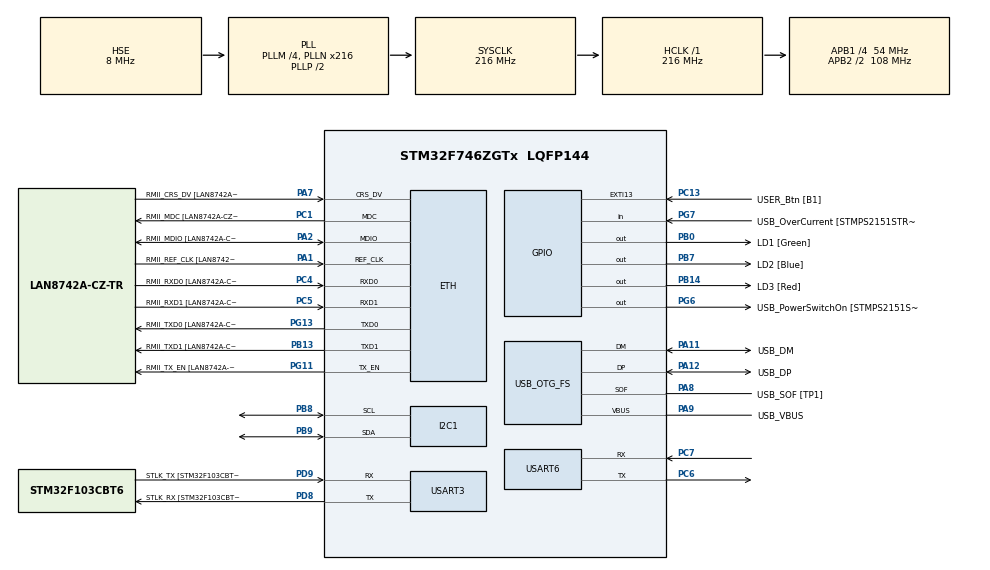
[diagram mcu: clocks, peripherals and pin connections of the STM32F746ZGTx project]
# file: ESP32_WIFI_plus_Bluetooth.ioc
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ETH.MediaInterface=HAL_ETH_RMII_MODE
ETH.PHY_Name=LAN8742A_PHY_ADDRESS
ETH.PHY_Value=0
ETH.PhyAddress=0
I2C1.Timing=0x20404768
Mcu.Family=STM32F7
Mcu.Name=STM32F746ZGTx
Mcu.Package=LQFP144
NVIC.PriorityGroup=NVIC_PRIORITYGROUP_4
PA1.GPIO_Label=RMII_REF_CLK [LAN8742A-CZ-TR_REFCLK0]
PA1.Mode=RMII
PA1.Signal=ETH_REF_CLK
PA10.GPIO_Label=USB_ID
PA10.Signal=USB_OTG_FS_ID
PA11.GPIO_Label=USB_DM
PA11.Mode=Device_Only
PA11.Signal=USB_OTG_FS_DM
PA12.GPIO_Label=USB_DP
PA12.Mode=Device_Only
PA12.Signal=USB_OTG_FS_DP
PA13.GPIO_Label=TMS
PA13.Mode=Serial_Wire
PA13.Signal=SYS_JTMS-SWDIO
PA14.GPIO_Label=TCK
PA14.Mode=Serial_Wire
PA14.Signal=SYS_JTCK-SWCLK
PA2.GPIO_Label=RMII_MDIO [LAN8742A-CZ-TR_MDIO]
PA2.Mode=RMII
PA2.Signal=ETH_MDIO
PA7.GPIO_Label=RMII_CRS_DV [LAN8742A-CZ-TR_CRS_DV]
PA7.Mode=RMII
PA7.Signal=ETH_CRS_DV
PA8.GPIO_Label=USB_SOF [TP1]
PA8.Mode=Activate_SOF_FS
PA8.Signal=USB_OTG_FS_SOF
PA9.GPIO_Label=USB_VBUS
PA9.Mode=Activate_VBUS
PA9.Signal=USB_OTG_FS_VBUS
PB0.GPIO_Label=LD1 [Green]
PB0.Signal=GPIO_Output
PB13.GPIO_Label=RMII_TXD1 [LAN8742A-CZ-TR_TXD1]
PB13.Mode=RMII
PB13.Signal=ETH_TXD1
PB14.GPIO_Label=LD3 [Red]
PB14.Signal=GPIO_Output
PB3.GPIO_Label=SW0
PB3.Signal=SYS_JTDO-SWO
PB7.GPIO_Label=LD2 [Blue]
PB7.Signal=GPIO_Output
PB8.Mode=I2C
PB8.Signal=I2C1_SCL
PB9.Mode=I2C
PB9.Signal=I2C1_SDA
PC1.GPIO_Label=RMII_MDC [LAN8742A-CZ-TR_MDC]
PC1.Mode=RMII
PC1.Signal=ETH_MDC
PC13.GPIO_Label=USER_Btn [B1]
PC13.Signal=GPXTI13
PC14/OSC32_IN.Mode=LSE-External-Oscillator
PC14/OSC32_IN.Signal=RCC_OSC32_IN
PC15/OSC32_OUT.Mode=LSE-External-Oscillator
PC15/OSC32_OUT.Signal=RCC_OSC32_OUT
PC4.GPIO_Label=RMII_RXD0 [LAN8742A-CZ-TR_RXD0]
PC4.Mode=RMII
PC4.Signal=ETH_RXD0
PC5.GPIO_Label=RMII_RXD1 [LAN8742A-CZ-TR_RXD1]
PC5.Mode=RMII
PC5.Signal=ETH_RXD1
PC6.Mode=Asynchronous
PC6.Signal=USART6_TX
PC7.Mode=Asynchronous
PC7.Signal=USART6_RX
PD8.GPIO_Label=STLK_RX [STM32F103CBT6_PA3]
PD8.GPIO_PuPd=GPIO_PULLUP
PD8.Mode=Asynchronous
PD8.Signal=USART3_TX
PD9.GPIO_Label=STLK_TX [STM32F103CBT6_PA2]
PD9.GPIO_PuPd=GPIO_PULLUP
PD9.Mode=Asynchronous
PD9.Signal=USART3_RX
PG11.GPIO_Label=RMII_TX_EN [LAN8742A-CZ-TR_TXEN]
PG11.Mode=RMII
PG11.Signal=ETH_TX_EN
PG13.GPIO_Label=RMII_TXD0 [LAN8742A-CZ-TR_TXD0]
PG13.Mode=RMII
PG13.Signal=ETH_TXD0
PG6.GPIO_Label=USB_PowerSwitchOn [STMPS2151STR_EN]
PG6.Signal=GPIO_Output
PG7.GPIO_Label=USB_OverCurrent [STMPS2151STR_FAULT]
PG7.Signal=GPIO_Input
PH0/OSC_IN.GPIO_Label=MCO [STM32F103CBT6_PA8]
PH0/OSC_IN.Mode=HSE-External-Clock-Source
PH0/OSC_IN.Signal=RCC_OSC_IN
PH1/OSC_OUT.Mode=HSE-External-Clock-Source
PH1/OSC_OUT.Signal=RCC_OSC_OUT
ProjectManager.HeapSize=0x200
ProjectManager.StackSize=0x400
ProjectManager.TargetToolchain=STM32CubeIDE
RCC.48MHZClocksFreq_Value=24000000
RCC.AHBFreq_Value=216000000
RCC.APB1CLKDivider=RCC_HCLK_DIV4
RCC.APB1Freq_Value=54000000
RCC.APB1TimFreq_Value=108000000
RCC.APB2CLKDivider=RCC_HCLK_DIV2
RCC.APB2Freq_Value=108000000
RCC.APB2TimFreq_Value=216000000
RCC.CortexFreq_Value=216000000
RCC.HCLKFreq_Value=216000000
RCC.HSE_VALUE=8000000
RCC.HSI_VALUE=16000000
RCC.PLLM=4
RCC.PLLMUL=RCC_PLL_MUL9
RCC.PLLN=216
RCC.PLLQ=9
RCC.PRESCALERUSB=RCC_USBCLKSOURCE_PLL_DIV1_5
RCC.SYSCLKFreq_VALUE=216000000
RCC.SYSCLKSource=RCC_SYSCLKSOURCE_PLLCLK
RCC.SYSCLKSourceVirtual=RCC_SYSCLKSOURCE_PLLCLK
RCC.USBFreq_Value=48000000
RCC.VCOOutputFreq_Value=432000000
USART3.VirtualMode-Asynchronous=VM_ASYNC
USART6.VirtualMode-Asynchronous=VM_ASYNC
USB_OTG_FS.VirtualMode=Device_Only
board=NUCLEO-F746ZG

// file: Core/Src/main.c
/* USER CODE BEGIN Header */
/**
  ******************************************************************************
  * @file           : main.c
  * @brief          : Main program body
  ******************************************************************************
  * @attention
  *
  * Copyright (c) 2025 STMicroelectronics.
  * All rights reserved.
  *
  * This software is licensed under terms that can be found in the LICENSE file
  * in the root directory of this software component.
  * If no LICENSE file comes with this software, it is provided AS-IS.
  *
  ******************************************************************************
  */
/* USER CODE END Header */
#include "main.h"
#include <string.h>

/* USER CODE BEGIN Includes */
#include <stdio.h>
/* USER CODE END Includes */

#if defined ( __ICCARM__ ) /*!< IAR Compiler */
#pragma location=0x2004c000
ETH_DMADescTypeDef  DMARxDscrTab[ETH_RX_DESC_CNT]; /* Ethernet Rx DMA Descriptors */
#pragma location=0x2004c0a0
ETH_DMADescTypeDef  DMATxDscrTab[ETH_TX_DESC_CNT]; /* Ethernet Tx DMA Descriptors */

#elif defined ( __CC_ARM )  /* MDK ARM Compiler */

__attribute__((at(0x2004c000))) ETH_DMADescTypeDef  DMARxDscrTab[ETH_RX_DESC_CNT]; /* Ethernet Rx DMA Descriptors */
__attribute__((at(0x2004c0a0))) ETH_DMADescTypeDef  DMATxDscrTab[ETH_TX_DESC_CNT]; /* Ethernet Tx DMA Descriptors */

#elif defined ( __GNUC__ ) /* GNU Compiler */

ETH_DMADescTypeDef DMARxDscrTab[ETH_RX_DESC_CNT] __attribute__((section(".RxDecripSection"))); /* Ethernet Rx DMA Descriptors */
ETH_DMADescTypeDef DMATxDscrTab[ETH_TX_DESC_CNT] __attribute__((section(".TxDecripSection")));   /* Ethernet Tx DMA Descriptors */
#endif

ETH_TxPacketConfig TxConfig;

ETH_HandleTypeDef heth;

I2C_HandleTypeDef hi2c1;

UART_HandleTypeDef huart3;
UART_HandleTypeDef huart6;

PCD_HandleTypeDef hpcd_USB_OTG_FS;

/* USER CODE BEGIN PV */
char recvBuf[128];  // Global buffer

/* USER CODE END PV */

void SystemClock_Config(void);
static void MX_GPIO_Init(void);
static void MX_ETH_Init(void);
static void MX_I2C1_Init(void);
static void MX_USART3_UART_Init(void);
static void MX_USB_OTG_FS_PCD_Init(void);
static void MX_USART6_UART_Init(void);

/* USER CODE BEGIN 0 */

/*----------- AT-command helper --------------*/
#define AT_RX_TIMEOUT 1000
char cmdBuf[64];

uint8_t b;

// Function to send AT command to ESP32 via UART6
HAL_StatusTypeDef ESP_SendCmd(const char *cmd, uint32_t timeout)
{

	    // 2) Echo the exact command we’re about to send to the PC (so you can see it)
	    HAL_UART_Transmit(&huart3, (uint8_t*)cmd, strlen(cmd), HAL_MAX_DELAY);

	    // 3) Send the AT command over UART6 to the ESP32
	    HAL_UART_Transmit(&huart6, (uint8_t*)cmd, strlen(cmd), HAL_MAX_DELAY);

	    // 4) Now collect *all* bytes the ESP32 replies with (up to `timeout`) into a buffer
	    uint32_t start = HAL_GetTick();
	    uint8_t  respBuf[256];
	    size_t   rlen = 0;

	    while ((HAL_GetTick() - start) < timeout && rlen < sizeof(respBuf)-1) {
	        uint8_t c;
	        // give each byte up to 20 ms to arrive
	        if (HAL_UART_Receive(&huart6, &c, 1, 20) == HAL_OK) {
	            respBuf[rlen++] = c;
	            start = HAL_GetTick();  // reset our timeout on each new byte
	        }
	    }
	    respBuf[rlen] = '\0';

	    // 5) Dump the *entire* response back to the PC in one go
	    if (rlen) {
	        HAL_UART_Transmit(&huart3, respBuf, rlen, HAL_MAX_DELAY);
	    }
	    return HAL_OK;
}

// Function to read response from ESP32
void ESP_ReadResponse(void)
{
    uint8_t rx_buf[256] = {0};
    HAL_UART_Receive(&huart6, rx_buf, sizeof(rx_buf), 1000);
    HAL_UART_Transmit(&huart3, rx_buf, strlen((char *)rx_buf), 1000);
}

// Connects ESP32 Bluetooth to a device with given MAC address
void ESP_BT_ConnectToDevice(const char* mac_address)
{
    char cmd[64];
    snprintf(cmd, sizeof(cmd), "AT+BTSPPCONN=%s\r\n", mac_address);
    ESP_SendCmd(cmd,1000);
    HAL_Delay(1000);
    ESP_ReadResponse();
}

// ESP32 Bluetooth scan Start
void ESP_BT_StartScan(void)
{
    ESP_SendCmd("AT+BTSCAN=1,5\r\n", 3000);  // 1 = Inquiry scan, 1 = enable
    ESP_ReadResponse(); // Return Results
}

// Initializes Bluetooth module through ESP32 AT commands
void ESP32_Bluetooth_Init(void)
{

	// 1) Basic AT check
	    ESP_SendCmd("AT\r\n",  500);
	    ESP_ReadResponse();

	    /*ESP_SendCmd("AT+RST\r\n", 1000);
	    ESP_ReadResponse();

	    ESP_SendCmd("AT+GMR\r\n",  5000);
	    ESP_ReadResponse();*/

	    	    // 2) Init BT

    	ESP_SendCmd("AT+BTINIT=1\r\n", 500);
    	ESP_ReadResponse();

	    ESP_SendCmd("AT+BTINIT?\r\n", 500);
	    ESP_ReadResponse();

	    // 3) Give it a friendly name
	    ESP_SendCmd("AT+BTNAME=\"ESP32_Bluetooth\"\r\n", 500);
	    ESP_ReadResponse();

	    // 3) AT+BTSCANMODE: Set Classic Bluetooth Scan Mode
	   	ESP_SendCmd("AT+BTSCANMODE=2\r\n", 500);
	   	ESP_ReadResponse();

	   	// 4) SPP Configuration Sequence:
	   	// You must first disable SPP by setting it to 0,
	   	// then enable it with value 1 or 2.
	   	// Configuration is not accepted unless disabled first.

	    ESP_SendCmd("AT+BTSPPINIT?\r\n", 500);
	    ESP_ReadResponse();

	    ESP_SendCmd("AT+BTSPPINIT=0\r\n", 500);
	    ESP_ReadResponse();

	    //4) Configure a classic-SPP service
	    ESP_SendCmd("AT+BTSPPINIT=2\r\n", 500);
	    ESP_ReadResponse();

	    //For the scan Bluetooth MAC ID's

		/*
		ESP_SendCmd("AT+BTSTARTDISC=0,10,5\r\n", 1000);
		ESP_ReadResponse();
		*/

	    //Start SPP
	    ESP_SendCmd("AT+BTSPPSTART\r\n", 2000);
	    ESP_ReadResponse();

		//Write your MAC ID For SPP
	    ESP_SendCmd("AT+BTSPPCONN=0,0,\"00:00:00:00:00:00\"\r\n",3000);
	    ESP_ReadResponse();

		ESP_SendCmd("AT+BTSPPCONN?\r\n", 2000);
	    ESP_ReadResponse();

}

void ESP_SetBaudRate_115200(void)
{
    ESP_SendCmd("AT+UART_DEF=115200,8,1,0,0\r\n", 1000);
    ESP_ReadResponse();
}

/*
// Connects ESP32 Bluetooth to a device with given MAC address
void ESP_BT_ConnectToDevice(const char* mac_address)
{
    char cmd[64];
    snprintf(cmd, sizeof(cmd), "AT+BTSPPCONN=%s", mac_address);
    ESP_SendCommand(cmd);
    HAL_Delay(1000);
    ESP_ReadResponse();
}
*/

/* USER CODE END 0 */

int main(void)
{

  /* MCU Configuration--------------------------------------------------------*/

  /* Reset of all peripherals, Initializes the Flash interface and the Systick. */
  HAL_Init();

  /* Configure the system clock */
  SystemClock_Config();

  /* Initialize all configured peripherals */
  MX_GPIO_Init();
  MX_ETH_Init();
  MX_I2C1_Init();
  MX_USART3_UART_Init();
  MX_USB_OTG_FS_PCD_Init();
  MX_USART6_UART_Init();
  /* USER CODE BEGIN 2 */

  //ESP_SetBaudRate_115200();

  //<---FOR Bluetooth--->

    // Initialize Bluetooth over UART6 (ESP32 AT commands)
    ESP32_Bluetooth_Init();

    // Device Scan
    ESP_BT_StartScan();

    // Later you can add connection command with AT+BTSPPCONN=MAC  ESP_BT_ConnectToDevice("00:11:22:33:44:55");

    //<---FOR WIFI--->

    /* Give ESP32 time to boot */

      /* Give ESP32 time to boot ------------------------------------------------*/
         HAL_Delay(1500);

         /* 1) Basic AT test --------------------------------------------------------*/
         /*ESP_SendCmd("AT\r\n", AT_RX_TIMEOUT);

         /* 2) Reset module to clear previous state --------------------------------*/
         //ESP_SendCmd("AT+RST\r\n", 2000);
         //HAL_Delay(2000);

         /* 3) Set Wi-Fi to AP+STA mode (3) -----------------------------------------*/
         ESP_SendCmd("AT+CWMODE=3\r\n", AT_RX_TIMEOUT);
         ESP_SendCmd("AT+CWSAP=\"Name\",\"123456789\",6,3,4,0\r\n", AT_RX_TIMEOUT);

         /* 5) Enable multiple connections -----------------------------------------*/
         ESP_SendCmd("AT+CIPMUX=1\r\n", AT_RX_TIMEOUT);

         /* 6) Start TCP server on port 5000 ---------------------------------------*/
         ESP_SendCmd("AT+CIPSERVER=1,5000\r\n", AT_RX_TIMEOUT);

  /* USER CODE END 2 */

  /* Infinite loop */
  /* USER CODE BEGIN WHILE */
         while (1)
         {
             char uartBuf[256] = {0};
             size_t uartLen = 0;
             uint32_t startTime = HAL_GetTick();

             while ((HAL_GetTick() - startTime) < 100 && uartLen < sizeof(uartBuf) - 1) {
                 uint8_t ch;
                 if (HAL_UART_Receive(&huart6, &ch, 1, 10) == HAL_OK) {
                     uartBuf[uartLen++] = ch;
                     startTime = HAL_GetTick();  // reset timeout
                 }
             }
             uartBuf[uartLen] = '\0';

             if (uartLen > 0) {

                 // Bluetooth Data: +BTDATA:<len>,<data>
                 if (strstr(uartBuf, "+BTDATA:") != NULL) {
                     // Get the part after the ','
                     char* dataStart = strchr(uartBuf, ',');
                     if (dataStart) {
                         dataStart++; // ',' sonrası verinin başlangıcı
                         size_t len = strlen(dataStart);

                         // Echo Bluetooth data
                         char cmd[64];
                         sprintf(cmd, "AT+BTSPPSEND=0,%u\r\n", (unsigned)len);
                         HAL_UART_Transmit(&huart6, (uint8_t*)cmd, strlen(cmd), HAL_MAX_DELAY);
                         HAL_Delay(100);
                         HAL_UART_Transmit(&huart6, (uint8_t*)dataStart, len, HAL_MAX_DELAY);
                         ESP_ReadResponse();
                     }
                 }

                 // Wi-Fi TCP data: +IPD,<id>,<len>:<data>
                 else if (strstr(uartBuf, "+IPD") != NULL) {
                     char* dataStart = strchr(uartBuf, ':');
                     if (dataStart != NULL) {
                         dataStart++;
                         size_t dataLen = strlen(dataStart);

                         // Echo Wi-Fi data
                         char cmdBuf[64];
                         sprintf(cmdBuf, "AT+CIPSEND=0,%u\r\n", (unsigned)dataLen);
                         HAL_UART_Transmit(&huart6, (uint8_t*)cmdBuf, strlen(cmdBuf), HAL_MAX_DELAY);

                         // Wait for '>' prompt
                         uint8_t prompt;
                         uint32_t waitStart = HAL_GetTick();
                         while ((HAL_GetTick() - waitStart) < 1000) {
                             if (HAL_UART_Receive(&huart6, &prompt, 1, 100) == HAL_OK && prompt == '>') {
                                 break;
                             }
                         }

                         HAL_UART_Transmit(&huart6, (uint8_t*)dataStart, dataLen, HAL_MAX_DELAY);
                     }
                 }
             }

             HAL_Delay(100);
         }

  /* USER CODE END 3 */
}

void SystemClock_Config(void)
{
  RCC_OscInitTypeDef RCC_OscInitStruct = {0};
  RCC_ClkInitTypeDef RCC_ClkInitStruct = {0};

  /** Configure LSE Drive Capability
  */
  HAL_PWR_EnableBkUpAccess();

  /** Configure the main internal regulator output voltage
  */
  __HAL_RCC_PWR_CLK_ENABLE();
  __HAL_PWR_VOLTAGESCALING_CONFIG(PWR_REGULATOR_VOLTAGE_SCALE1);

  /** Initializes the RCC Oscillators according to the specified parameters
  * in the RCC_OscInitTypeDef structure.
  */
  RCC_OscInitStruct.OscillatorType = RCC_OSCILLATORTYPE_HSE;
  RCC_OscInitStruct.HSEState = RCC_HSE_BYPASS;
  RCC_OscInitStruct.PLL.PLLState = RCC_PLL_ON;
  RCC_OscInitStruct.PLL.PLLSource = RCC_PLLSOURCE_HSE;
  RCC_OscInitStruct.PLL.PLLM = 4;
  RCC_OscInitStruct.PLL.PLLN = 216;
  RCC_OscInitStruct.PLL.PLLP = RCC_PLLP_DIV2;
  RCC_OscInitStruct.PLL.PLLQ = 9;
  if (HAL_RCC_OscConfig(&RCC_OscInitStruct) != HAL_OK)
  {
    Error_Handler();
  }

  /** Activate the Over-Drive mode
  */
  if (HAL_PWREx_EnableOverDrive() != HAL_OK)
  {
    Error_Handler();
  }

  /** Initializes the CPU, AHB and APB buses clocks
  */
  RCC_ClkInitStruct.ClockType = RCC_CLOCKTYPE_HCLK|RCC_CLOCKTYPE_SYSCLK
                              |RCC_CLOCKTYPE_PCLK1|RCC_CLOCKTYPE_PCLK2;
  RCC_ClkInitStruct.SYSCLKSource = RCC_SYSCLKSOURCE_PLLCLK;
  RCC_ClkInitStruct.AHBCLKDivider = RCC_SYSCLK_DIV1;
  RCC_ClkInitStruct.APB1CLKDivider = RCC_HCLK_DIV4;
  RCC_ClkInitStruct.APB2CLKDivider = RCC_HCLK_DIV2;

  if (HAL_RCC_ClockConfig(&RCC_ClkInitStruct, FLASH_LATENCY_7) != HAL_OK)
  {
    Error_Handler();
  }
}

static void MX_ETH_Init(void)
{

   static uint8_t MACAddr[6];

  heth.Instance = ETH;
  MACAddr[0] = 0x00;
  MACAddr[1] = 0x80;
  MACAddr[2] = 0xE1;
  MACAddr[3] = 0x00;
  MACAddr[4] = 0x00;
  MACAddr[5] = 0x00;
  heth.Init.MACAddr = &MACAddr[0];
  heth.Init.MediaInterface = HAL_ETH_RMII_MODE;
  heth.Init.TxDesc = DMATxDscrTab;
  heth.Init.RxDesc = DMARxDscrTab;
  heth.Init.RxBuffLen = 1524;

  if (HAL_ETH_Init(&heth) != HAL_OK)
  {
    Error_Handler();
  }

  memset(&TxConfig, 0 , sizeof(ETH_TxPacketConfig));
  TxConfig.Attributes = ETH_TX_PACKETS_FEATURES_CSUM | ETH_TX_PACKETS_FEATURES_CRCPAD;
  TxConfig.ChecksumCtrl = ETH_CHECKSUM_IPHDR_PAYLOAD_INSERT_PHDR_CALC;
  TxConfig.CRCPadCtrl = ETH_CRC_PAD_INSERT;

}

static void MX_I2C1_Init(void)
{

  hi2c1.Instance = I2C1;
  hi2c1.Init.Timing = 0x20404768;
  hi2c1.Init.OwnAddress1 = 0;
  hi2c1.Init.AddressingMode = I2C_ADDRESSINGMODE_7BIT;
  hi2c1.Init.DualAddressMode = I2C_DUALADDRESS_DISABLE;
  hi2c1.Init.OwnAddress2 = 0;
  hi2c1.Init.OwnAddress2Masks = I2C_OA2_NOMASK;
  hi2c1.Init.GeneralCallMode = I2C_GENERALCALL_DISABLE;
  hi2c1.Init.NoStretchMode = I2C_NOSTRETCH_DISABLE;
  if (HAL_I2C_Init(&hi2c1) != HAL_OK)
  {
    Error_Handler();
  }

  /** Configure Analogue filter
  */
  if (HAL_I2CEx_ConfigAnalogFilter(&hi2c1, I2C_ANALOGFILTER_ENABLE) != HAL_OK)
  {
    Error_Handler();
  }

  /** Configure Digital filter
  */
  if (HAL_I2CEx_ConfigDigitalFilter(&hi2c1, 0) != HAL_OK)
  {
    Error_Handler();
  }

}

static void MX_USART3_UART_Init(void)
{

  huart3.Instance = USART3;
  huart3.Init.BaudRate = 115200;
  huart3.Init.WordLength = UART_WORDLENGTH_8B;
  huart3.Init.StopBits = UART_STOPBITS_1;
  huart3.Init.Parity = UART_PARITY_NONE;
  huart3.Init.Mode = UART_MODE_TX_RX;
  huart3.Init.HwFlowCtl = UART_HWCONTROL_NONE;
  huart3.Init.OverSampling = UART_OVERSAMPLING_16;
  huart3.Init.OneBitSampling = UART_ONE_BIT_SAMPLE_DISABLE;
  huart3.AdvancedInit.AdvFeatureInit = UART_ADVFEATURE_NO_INIT;
  if (HAL_UART_Init(&huart3) != HAL_OK)
  {
    Error_Handler();
  }

}

static void MX_USART6_UART_Init(void)
{

  huart6.Instance = USART6;
  huart6.Init.BaudRate = 115200;
  huart6.Init.WordLength = UART_WORDLENGTH_8B;
  huart6.Init.StopBits = UART_STOPBITS_1;
  huart6.Init.Parity = UART_PARITY_NONE;
  huart6.Init.Mode = UART_MODE_TX_RX;
  huart6.Init.HwFlowCtl = UART_HWCONTROL_NONE;
  huart6.Init.OverSampling = UART_OVERSAMPLING_16;
  huart6.Init.OneBitSampling = UART_ONE_BIT_SAMPLE_DISABLE;
  huart6.AdvancedInit.AdvFeatureInit = UART_ADVFEATURE_NO_INIT;
  if (HAL_UART_Init(&huart6) != HAL_OK)
  {
    Error_Handler();
  }

}

static void MX_USB_OTG_FS_PCD_Init(void)
{

  hpcd_USB_OTG_FS.Instance = USB_OTG_FS;
  hpcd_USB_OTG_FS.Init.dev_endpoints = 6;
  hpcd_USB_OTG_FS.Init.speed = PCD_SPEED_FULL;
  hpcd_USB_OTG_FS.Init.dma_enable = DISABLE;
  hpcd_USB_OTG_FS.Init.phy_itface = PCD_PHY_EMBEDDED;
  hpcd_USB_OTG_FS.Init.Sof_enable = ENABLE;
  hpcd_USB_OTG_FS.Init.low_power_enable = DISABLE;
  hpcd_USB_OTG_FS.Init.lpm_enable = DISABLE;
  hpcd_USB_OTG_FS.Init.vbus_sensing_enable = ENABLE;
  hpcd_USB_OTG_FS.Init.use_dedicated_ep1 = DISABLE;
  if (HAL_PCD_Init(&hpcd_USB_OTG_FS) != HAL_OK)
  {
    Error_Handler();
  }

}

static void MX_GPIO_Init(void)
{
  GPIO_InitTypeDef GPIO_InitStruct = {0};

  /* GPIO Ports Clock Enable */
  __HAL_RCC_GPIOC_CLK_ENABLE();
  __HAL_RCC_GPIOH_CLK_ENABLE();
  __HAL_RCC_GPIOA_CLK_ENABLE();
  __HAL_RCC_GPIOB_CLK_ENABLE();
  __HAL_RCC_GPIOD_CLK_ENABLE();
  __HAL_RCC_GPIOG_CLK_ENABLE();

  /*Configure GPIO pin Output Level */
  HAL_GPIO_WritePin(GPIOB, LD1_Pin|LD3_Pin|LD2_Pin, GPIO_PIN_RESET);

  /*Configure GPIO pin Output Level */
  HAL_GPIO_WritePin(USB_PowerSwitchOn_GPIO_Port, USB_PowerSwitchOn_Pin, GPIO_PIN_RESET);

  /*Configure GPIO pin : USER_Btn_Pin */
  GPIO_InitStruct.Pin = USER_Btn_Pin;
  GPIO_InitStruct.Mode = GPIO_MODE_IT_RISING;
  GPIO_InitStruct.Pull = GPIO_NOPULL;
  HAL_GPIO_Init(USER_Btn_GPIO_Port, &GPIO_InitStruct);

  /*Configure GPIO pins : LD1_Pin LD3_Pin LD2_Pin */
  GPIO_InitStruct.Pin = LD1_Pin|LD3_Pin|LD2_Pin;
  GPIO_InitStruct.Mode = GPIO_MODE_OUTPUT_PP;
  GPIO_InitStruct.Pull = GPIO_NOPULL;
  GPIO_InitStruct.Speed = GPIO_SPEED_FREQ_LOW;
  HAL_GPIO_Init(GPIOB, &GPIO_InitStruct);

  /*Configure GPIO pin : USB_PowerSwitchOn_Pin */
  GPIO_InitStruct.Pin = USB_PowerSwitchOn_Pin;
  GPIO_InitStruct.Mode = GPIO_MODE_OUTPUT_PP;
  GPIO_InitStruct.Pull = GPIO_NOPULL;
  GPIO_InitStruct.Speed = GPIO_SPEED_FREQ_LOW;
  HAL_GPIO_Init(USB_PowerSwitchOn_GPIO_Port, &GPIO_InitStruct);

  /*Configure GPIO pin : USB_OverCurrent_Pin */
  GPIO_InitStruct.Pin = USB_OverCurrent_Pin;
  GPIO_InitStruct.Mode = GPIO_MODE_INPUT;
  GPIO_InitStruct.Pull = GPIO_NOPULL;
  HAL_GPIO_Init(USB_OverCurrent_GPIO_Port, &GPIO_InitStruct);

}

void Error_Handler(void)
{
  __disable_irq();
  while (1)
  {
  }
}
